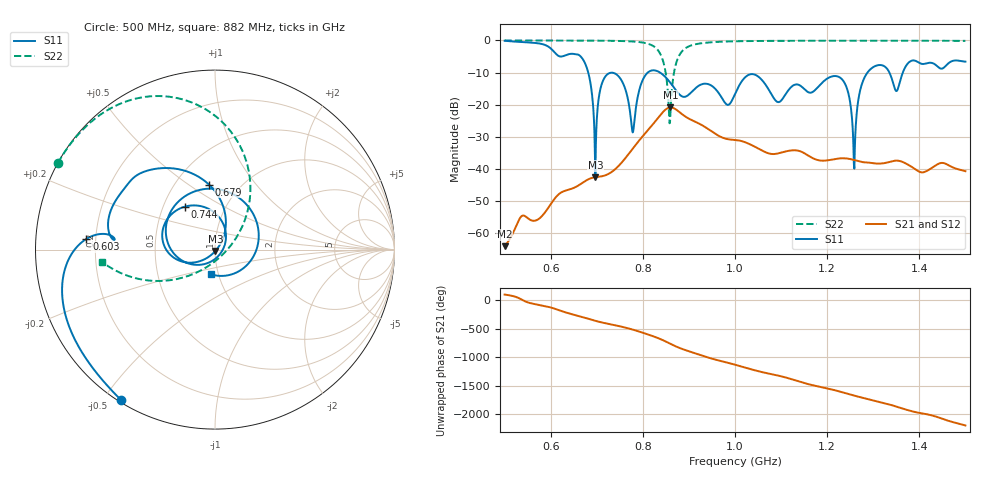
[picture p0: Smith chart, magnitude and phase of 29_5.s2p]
! TOUCHSTONE file generated by CST MICROWAVE STUDIO
! Date and time: Mon Nov 30 08:10:37 2020
! Project name: Scenario_1_Planar_Body_Tissue_Out_of_Line.cst
! Parameters = {dy1=138.4; L_HA=400; Ltissue=700; MT=2.54; Rad_Dielectric=30; Rad_Lower=7.3; Rad_Upper=30; Wtissue=700; a_HA=580; a_WG=246; b_HA=500; b_WG=121; c_HA=0; c_WG=187; d_feed=85; dx1=866; h_feed=15; h_lower=18; h_upper=40; hfat=3; hgap=25; hmuscle=50; hskin=1.5}
! Header version: 2018
! Port assignment regex: !\s*Touchstone port\s*([0-9]+)\s*=\s*(CST MWS port|CST DS port)\s*([0-9]+|Zmin|Zmax)\s*\(\"(.*)\"\)(\s*mode\s*([0-9]+))?.*
! Touchstone port assignment:
! Touchstone port 1 = CST MWS port 1 ("")
! Touchstone port 2 = CST MWS port 2 ("")
# GHz S DB R 50
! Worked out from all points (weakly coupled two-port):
!   1003 points, 500 MHz to 1.5 GHz, reference 50 ohm
!   highest |S21| = -20.85 dB at 860 MHz (marker M1); lowest = -64.0 dB at 500 MHz (marker M2)
!   lowest |S11| = -42.6 dB at 697 MHz (marker M3), VSWR 1.02, Z = 50.3 - j0.7 ohm
!   |S11| at or under -10 dB: 681.5 MHz to 810.6 MHz (129.1 MHz wide, 17.3 % of centre); 837.5 MHz to 1.287 GHz (450 MHz wide, 42.4 % of centre); 1.335 GHz to 1.364 GHz (29.03 MHz wide, 2.15 % of centre)
!   |S22| runs from -25.8 to 0.0 dB; largest |S21 - S12| = 2.1e-05
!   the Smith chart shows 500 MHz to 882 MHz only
!   S11 on the Smith chart (normalised r, x): 500 MHz: 0.01, -0.55; 603 MHz: 0.16, +0.04; 679 MHz: 0.72, +0.60; 744 MHz: 0.65, +0.34; 882 MHz: 0.92, -0.26
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0.5  -0.11 -122.1  -63.98 101.4  -63.97 101.4  -0.01 151.2
0.603  -2.87 175.2  -50.31 -133.3  -50.31 -133.3  -0.02 143.9
0.667  -5.30 123.4  -44.47 70.1  -44.47 70.1  -0.04 138.4
0.679  -8.78 95.3  -43.38 42.0  -43.38 42.0  -0.05 137.2
0.697  -42.56 -69.2  -42.54 -1.2  -42.54 -1.2  -0.06 135.2
0.713  -12.70 -168.4  -42.18 -33.5  -42.18 -33.5  -0.08 133.3
0.744  -10.70 124.7  -39.50 -86.4  -39.50 -86.4  -0.15 128.6
0.778  -28.61 -34.5  -33.65 -155.2  -33.65 -155.2  -0.33 121.0
0.801  -11.91 176.6  -29.57 146.4  -29.57 146.4  -0.69 112.3
0.834  -9.71 74.1  -23.89 51.6  -23.89 51.6  -3.29 84.3
0.86  -13.22 -9.5  -20.85 -46.4  -20.84 -46.4  -22.30 -100.1
0.882  -17.12 -98.9  -22.59 -126.2  -22.59 -126.2  -3.95 -174.0
1  -16.64 112.3  -30.94 -52.6  -30.94 -52.6  -0.27 140.3
1.034  -10.50 -5.5  -32.40 -131.9  -32.40 -131.9  -0.19 136.2
1.093  -19.17 149.3  -35.15 116.6  -35.15 116.6  -0.13 130.4
1.129  -13.81 -10.6  -34.15 36.7  -34.15 36.7  -0.11 127.3
1.167  -16.14 174.3  -36.48 -50.9  -36.48 -50.9  -0.09 124.2
1.232  -12.05 -5.6  -36.64 -176.4  -36.64 -176.4  -0.08 119.3
1.259  -39.84 170.2  -37.19 122.1  -37.18 122.1  -0.08 117.2
1.283  -11.00 58.7  -37.92 72.7  -37.92 72.7  -0.09 115.4
1.334  -9.69 -22.7  -37.82 -31.1  -37.82 -31.1  -0.08 111.6
1.5  -6.60 -45.8  -40.67 -42.3  -40.67 -42.3  -0.13 98.0
